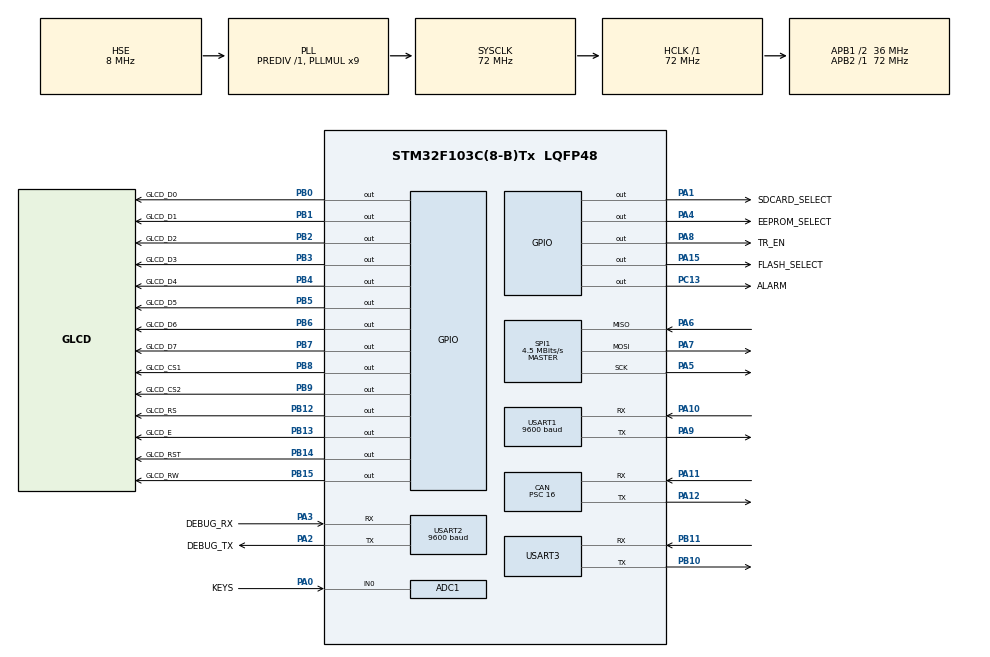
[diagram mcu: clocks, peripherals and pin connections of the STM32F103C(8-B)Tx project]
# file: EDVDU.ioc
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ADC1.Channel-1\#ChannelRegularConversion=ADC_CHANNEL_0
ADC1.EnableInjectedConversion=DISABLE
ADC1.NbrOfConversionFlag=1
ADC1.Rank-1\#ChannelRegularConversion=1
ADC1.SamplingTime-1\#ChannelRegularConversion=ADC_SAMPLETIME_1CYCLE_5
ADC1.master=1
CAN.CalculateBaudRate=749999
CAN.CalculateTimeBit=1333
CAN.CalculateTimeQuantum=444.44444444444446
CAN.Prescaler=16
CAN.SJW=CAN_SJW_1TQ
Dma.ADC1.0.Direction=DMA_PERIPH_TO_MEMORY
Dma.ADC1.0.Instance=DMA1_Channel1
Dma.ADC1.0.MemDataAlignment=DMA_MDATAALIGN_HALFWORD
Dma.ADC1.0.MemInc=DMA_MINC_ENABLE
Dma.ADC1.0.Mode=DMA_NORMAL
Dma.ADC1.0.PeriphDataAlignment=DMA_PDATAALIGN_HALFWORD
Dma.ADC1.0.PeriphInc=DMA_PINC_DISABLE
Dma.ADC1.0.Priority=DMA_PRIORITY_LOW
Dma.Request0=ADC1
Mcu.Family=STM32F1
Mcu.Name=STM32F103C(8-B)Tx
Mcu.Package=LQFP48
NVIC.ADC1_2_IRQn=true\:0\:0\:false\:false\:true\:true\:true\:true
NVIC.DMA1_Channel1_IRQn=true\:0\:0\:false\:false\:true\:false\:true\:true
NVIC.PriorityGroup=NVIC_PRIORITYGROUP_4
NVIC.USART2_IRQn=true\:0\:0\:false\:false\:true\:true\:true\:true
PA0-WKUP.GPIO_Label=KEYS
PA0-WKUP.Signal=ADCx_IN0
PA1.GPIO_Label=SDCARD_SELECT
PA1.Signal=GPIO_Output
PA10.Mode=Asynchronous
PA10.Signal=USART1_RX
PA11.Mode=CAN_Activate
PA11.Signal=CAN_RX
PA12.Mode=CAN_Activate
PA12.Signal=CAN_TX
PA13.Mode=Serial_Wire
PA13.Signal=SYS_JTMS-SWDIO
PA14.Mode=Serial_Wire
PA14.Signal=SYS_JTCK-SWCLK
PA15.GPIO_Label=FLASH_SELECT
PA15.Signal=GPIO_Output
PA2.GPIO_Label=DEBUG_TX
PA2.Mode=Asynchronous
PA2.Signal=USART2_TX
PA3.GPIO_Label=DEBUG_RX
PA3.Mode=Asynchronous
PA3.Signal=USART2_RX
PA4.GPIO_Label=EEPROM_SELECT
PA4.Signal=GPIO_Output
PA5.Mode=Full_Duplex_Master
PA5.Signal=SPI1_SCK
PA6.Mode=Full_Duplex_Master
PA6.Signal=SPI1_MISO
PA7.Mode=Full_Duplex_Master
PA7.Signal=SPI1_MOSI
PA8.GPIO_Label=TR_EN
PA8.Signal=GPIO_Output
PA9.Mode=Asynchronous
PA9.Signal=USART1_TX
PB0.GPIO_Label=GLCD_D0
PB0.Signal=GPIO_Output
PB1.GPIO_Label=GLCD_D1
PB1.Signal=GPIO_Output
PB10.Mode=Asynchronous
PB10.Signal=USART3_TX
PB11.Mode=Asynchronous
PB11.Signal=USART3_RX
PB12.GPIO_Label=GLCD_RS
PB12.Signal=GPIO_Output
PB13.GPIO_Label=GLCD_E
PB13.Signal=GPIO_Output
PB14.GPIO_Label=GLCD_RST
PB14.Signal=GPIO_Output
PB15.GPIO_Label=GLCD_RW
PB15.Signal=GPIO_Output
PB2.GPIO_Label=GLCD_D2
PB2.Signal=GPIO_Output
PB3.GPIO_Label=GLCD_D3
PB3.Signal=GPIO_Output
PB4.GPIO_Label=GLCD_D4
PB4.Signal=GPIO_Output
PB5.GPIO_Label=GLCD_D5
PB5.Signal=GPIO_Output
PB6.GPIO_Label=GLCD_D6
PB6.Signal=GPIO_Output
PB7.GPIO_Label=GLCD_D7
PB7.Signal=GPIO_Output
PB8.GPIO_Label=GLCD_CS1
PB8.Signal=GPIO_Output
PB9.GPIO_Label=GLCD_CS2
PB9.Signal=GPIO_Output
PC13-TAMPER-RTC.GPIO_Label=ALARM
PC13-TAMPER-RTC.Signal=GPIO_Output
PC14-OSC32_IN.Mode=LSE-External-Oscillator
PC14-OSC32_IN.Signal=RCC_OSC32_IN
PC15-OSC32_OUT.Mode=LSE-External-Oscillator
PC15-OSC32_OUT.Signal=RCC_OSC32_OUT
PD0-OSC_IN.Mode=HSE-External-Oscillator
PD0-OSC_IN.Signal=RCC_OSC_IN
PD1-OSC_OUT.Mode=HSE-External-Oscillator
PD1-OSC_OUT.Signal=RCC_OSC_OUT
ProjectManager.HeapSize=0x200
ProjectManager.StackSize=0x400
ProjectManager.TargetToolchain=MDK-ARM V5.32
RCC.ADCPresc=RCC_ADCPCLK2_DIV6
RCC.AHBFreq_Value=72000000
RCC.APB1CLKDivider=RCC_HCLK_DIV2
RCC.APB1Freq_Value=36000000
RCC.APB1TimFreq_Value=72000000
RCC.APB2Freq_Value=72000000
RCC.APB2TimFreq_Value=72000000
RCC.HCLKFreq_Value=72000000
RCC.PLLMUL=RCC_PLL_MUL9
RCC.PLLSourceVirtual=RCC_PLLSOURCE_HSE
RCC.RTCClockSelection=RCC_RTCCLKSOURCE_HSE_DIV128
RCC.SYSCLKFreq_VALUE=72000000
RCC.SYSCLKSource=RCC_SYSCLKSOURCE_PLLCLK
RCC.USBFreq_Value=72000000
SH.ADCx_IN0.0=ADC1_IN0,IN0
SPI1.BaudRatePrescaler=SPI_BAUDRATEPRESCALER_16
SPI1.CalculateBaudRate=4.5 MBits/s
SPI1.Direction=SPI_DIRECTION_2LINES
SPI1.Mode=SPI_MODE_MASTER
SPI1.VirtualType=VM_MASTER
TIM2.Channel-PWM\ Generation1\ No\ Output=TIM_CHANNEL_1
USART1.BaudRate=9600
USART1.VirtualMode=VM_ASYNC
USART2.BaudRate=9600
USART2.VirtualMode=VM_ASYNC
USART3.VirtualMode=VM_ASYNC
VP_RTC_No_RTC_Output.Mode=RTC_OUT_NO
VP_RTC_VS_RTC_Activate.Mode=RTC_Enabled
VP_TIM1_VS_ClockSourceINT.Mode=Internal
VP_TIM2_VS_ClockSourceINT.Mode=Internal
VP_TIM2_VS_no_output1.Mode=PWM Generation1 No Output
board=custom

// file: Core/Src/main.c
/* USER CODE BEGIN Header */
/**
  ******************************************************************************
  * @file           : main.c
  * @brief          : Main program body
  ******************************************************************************
  * @attention
  *
  * Copyright (c) 2023 STMicroelectronics.
  * All rights reserved.
  *
  * This software is licensed under terms that can be found in the LICENSE file
  * in the root directory of this software component.
  * If no LICENSE file comes with this software, it is provided AS-IS.
  *
  ******************************************************************************
  */
/* USER CODE END Header */
#include "main.h"

/* USER CODE BEGIN Includes */
#include "FONT/font/f5x7.h"
#include "FONT/font/AF9x10.h"
#include "FONT/font/AF12x16.h"
#include "FONT/font/f10x20.h"
#include "BMP/Logo.h"

#include <stdio.h>
#include "FreeRTOS.h"
#include "task.h"
#include "queue.h"
/* USER CODE END Includes */

/* USER CODE BEGIN PM */
void Input_DB_GLCD(void);
void Output_DB_GLCD(void);
void Write_DB_GLCD(unsigned char x);
unsigned char Read_DB_GLCD(void);
unsigned int _delay_us(unsigned int Delay);
/* USER CODE END PM */

ADC_HandleTypeDef hadc1;
DMA_HandleTypeDef hdma_adc1;

CAN_HandleTypeDef hcan;

RTC_HandleTypeDef hrtc;

SPI_HandleTypeDef hspi1;

TIM_HandleTypeDef htim1;
TIM_HandleTypeDef htim2;

UART_HandleTypeDef huart1;
UART_HandleTypeDef huart2;
UART_HandleTypeDef huart3;

/* USER CODE BEGIN PV */
unsigned char Data;
char data[37];
char Ctemp[20];
/* USER CODE END PV */

void SystemClock_Config(void);
static void MX_GPIO_Init(void);
static void MX_DMA_Init(void);
static void MX_USART1_UART_Init(void);
static void MX_USART2_UART_Init(void);
static void MX_ADC1_Init(void);
static void MX_CAN_Init(void);
static void MX_SPI1_Init(void);
static void MX_TIM1_Init(void);
static void MX_USART3_UART_Init(void);
static void MX_TIM2_Init(void);
static void MX_RTC_Init(void);

int main(void)
{

  /* MCU Configuration--------------------------------------------------------*/

  /* Reset of all peripherals, Initializes the Flash interface and the Systick. */
  HAL_Init();

  /* Configure the system clock */
  SystemClock_Config();

  /* Initialize all configured peripherals */
  MX_GPIO_Init();
  MX_DMA_Init();
  MX_USART1_UART_Init();
  MX_USART2_UART_Init();
  MX_ADC1_Init();
  MX_CAN_Init();
  MX_SPI1_Init();
  MX_TIM1_Init();
  MX_USART3_UART_Init();
  MX_TIM2_Init();
  MX_RTC_Init();

  /* USER CODE BEGIN 2 */
	printf("debuged1");

	HAL_GPIO_TogglePin(ALARM_GPIO_Port, ALARM_Pin);
	HAL_Delay(100);
	HAL_GPIO_TogglePin(ALARM_GPIO_Port, ALARM_Pin);
	HAL_Delay(100);

	KS108_Init(NON_INVERTED);
	KS108_CLSx();

	KS108_DrawBitmap(Logo, 0, 0, TRANS);
	_delay_ms(1500);
	KS108_CLSx();

	SetLetter(E_LETTER);
	LcdFont(f10x20);
	TextBox (0, 5,  127,  25, "ElectronDriven.com",  ALINE_CENTER | BORDER_RECT |BORDER_FILL);

  HAL_GPIO_TogglePin(ALARM_GPIO_Port, ALARM_Pin);
	HAL_Delay(100);
	HAL_GPIO_TogglePin(ALARM_GPIO_Port, ALARM_Pin);
	HAL_Delay(100);

	printf("debuged");
  /* USER CODE END 2 */

  /* Infinite loop */
  while (1)
  {

  }
}

void SystemClock_Config(void)
{
  RCC_OscInitTypeDef RCC_OscInitStruct = {0};
  RCC_ClkInitTypeDef RCC_ClkInitStruct = {0};
  RCC_PeriphCLKInitTypeDef PeriphClkInit = {0};

  /** Initializes the RCC Oscillators according to the specified parameters
  * in the RCC_OscInitTypeDef structure.
  */
  RCC_OscInitStruct.OscillatorType = RCC_OSCILLATORTYPE_HSE;
  RCC_OscInitStruct.HSEState = RCC_HSE_ON;
  RCC_OscInitStruct.HSEPredivValue = RCC_HSE_PREDIV_DIV1;
  RCC_OscInitStruct.HSIState = RCC_HSI_ON;
  RCC_OscInitStruct.PLL.PLLState = RCC_PLL_ON;
  RCC_OscInitStruct.PLL.PLLSource = RCC_PLLSOURCE_HSE;
  RCC_OscInitStruct.PLL.PLLMUL = RCC_PLL_MUL9;
  if (HAL_RCC_OscConfig(&RCC_OscInitStruct) != HAL_OK)
  {
    Error_Handler();
  }

  /** Initializes the CPU, AHB and APB buses clocks
  */
  RCC_ClkInitStruct.ClockType = RCC_CLOCKTYPE_HCLK|RCC_CLOCKTYPE_SYSCLK
                              |RCC_CLOCKTYPE_PCLK1|RCC_CLOCKTYPE_PCLK2;
  RCC_ClkInitStruct.SYSCLKSource = RCC_SYSCLKSOURCE_PLLCLK;
  RCC_ClkInitStruct.AHBCLKDivider = RCC_SYSCLK_DIV1;
  RCC_ClkInitStruct.APB1CLKDivider = RCC_HCLK_DIV2;
  RCC_ClkInitStruct.APB2CLKDivider = RCC_HCLK_DIV1;

  if (HAL_RCC_ClockConfig(&RCC_ClkInitStruct, FLASH_LATENCY_2) != HAL_OK)
  {
    Error_Handler();
  }
  PeriphClkInit.PeriphClockSelection = RCC_PERIPHCLK_RTC|RCC_PERIPHCLK_ADC;
  PeriphClkInit.RTCClockSelection = RCC_RTCCLKSOURCE_HSE_DIV128;
  PeriphClkInit.AdcClockSelection = RCC_ADCPCLK2_DIV6;
  if (HAL_RCCEx_PeriphCLKConfig(&PeriphClkInit) != HAL_OK)
  {
    Error_Handler();
  }
}

static void MX_ADC1_Init(void)
{

  ADC_ChannelConfTypeDef sConfig = {0};

  /** Common config
  */
  hadc1.Instance = ADC1;
  hadc1.Init.ScanConvMode = ADC_SCAN_DISABLE;
  hadc1.Init.ContinuousConvMode = DISABLE;
  hadc1.Init.DiscontinuousConvMode = DISABLE;
  hadc1.Init.ExternalTrigConv = ADC_SOFTWARE_START;
  hadc1.Init.DataAlign = ADC_DATAALIGN_RIGHT;
  hadc1.Init.NbrOfConversion = 1;
  if (HAL_ADC_Init(&hadc1) != HAL_OK)
  {
    Error_Handler();
  }

  /** Configure Regular Channel
  */
  sConfig.Channel = ADC_CHANNEL_0;
  sConfig.Rank = ADC_REGULAR_RANK_1;
  sConfig.SamplingTime = ADC_SAMPLETIME_1CYCLE_5;
  if (HAL_ADC_ConfigChannel(&hadc1, &sConfig) != HAL_OK)
  {
    Error_Handler();
  }

}

static void MX_CAN_Init(void)
{

  hcan.Instance = CAN1;
  hcan.Init.Prescaler = 16;
  hcan.Init.Mode = CAN_MODE_NORMAL;
  hcan.Init.SyncJumpWidth = CAN_SJW_1TQ;
  hcan.Init.TimeSeg1 = CAN_BS1_1TQ;
  hcan.Init.TimeSeg2 = CAN_BS2_1TQ;
  hcan.Init.TimeTriggeredMode = DISABLE;
  hcan.Init.AutoBusOff = DISABLE;
  hcan.Init.AutoWakeUp = DISABLE;
  hcan.Init.AutoRetransmission = DISABLE;
  hcan.Init.ReceiveFifoLocked = DISABLE;
  hcan.Init.TransmitFifoPriority = DISABLE;
  if (HAL_CAN_Init(&hcan) != HAL_OK)
  {
    Error_Handler();
  }

}

static void MX_RTC_Init(void)
{

  RTC_TimeTypeDef sTime = {0};
  RTC_DateTypeDef DateToUpdate = {0};

  /** Initialize RTC Only
  */
  hrtc.Instance = RTC;
  hrtc.Init.AsynchPrediv = RTC_AUTO_1_SECOND;
  hrtc.Init.OutPut = RTC_OUTPUTSOURCE_NONE;
  if (HAL_RTC_Init(&hrtc) != HAL_OK)
  {
    Error_Handler();
  }

  /** Initialize RTC and set the Time and Date
  */
  sTime.Hours = 0x0;
  sTime.Minutes = 0x0;
  sTime.Seconds = 0x0;

  if (HAL_RTC_SetTime(&hrtc, &sTime, RTC_FORMAT_BCD) != HAL_OK)
  {
    Error_Handler();
  }
  DateToUpdate.WeekDay = RTC_WEEKDAY_MONDAY;
  DateToUpdate.Month = RTC_MONTH_JANUARY;
  DateToUpdate.Date = 0x1;
  DateToUpdate.Year = 0x0;

  if (HAL_RTC_SetDate(&hrtc, &DateToUpdate, RTC_FORMAT_BCD) != HAL_OK)
  {
    Error_Handler();
  }

}

static void MX_SPI1_Init(void)
{

  /* SPI1 parameter configuration*/
  hspi1.Instance = SPI1;
  hspi1.Init.Mode = SPI_MODE_MASTER;
  hspi1.Init.Direction = SPI_DIRECTION_2LINES;
  hspi1.Init.DataSize = SPI_DATASIZE_8BIT;
  hspi1.Init.CLKPolarity = SPI_POLARITY_LOW;
  hspi1.Init.CLKPhase = SPI_PHASE_1EDGE;
  hspi1.Init.NSS = SPI_NSS_SOFT;
  hspi1.Init.BaudRatePrescaler = SPI_BAUDRATEPRESCALER_16;
  hspi1.Init.FirstBit = SPI_FIRSTBIT_MSB;
  hspi1.Init.TIMode = SPI_TIMODE_DISABLE;
  hspi1.Init.CRCCalculation = SPI_CRCCALCULATION_DISABLE;
  hspi1.Init.CRCPolynomial = 10;
  if (HAL_SPI_Init(&hspi1) != HAL_OK)
  {
    Error_Handler();
  }

}

static void MX_TIM1_Init(void)
{

  TIM_ClockConfigTypeDef sClockSourceConfig = {0};
  TIM_MasterConfigTypeDef sMasterConfig = {0};

  htim1.Instance = TIM1;
  htim1.Init.Prescaler = 0;
  htim1.Init.CounterMode = TIM_COUNTERMODE_UP;
  htim1.Init.Period = 65535;
  htim1.Init.ClockDivision = TIM_CLOCKDIVISION_DIV1;
  htim1.Init.RepetitionCounter = 0;
  htim1.Init.AutoReloadPreload = TIM_AUTORELOAD_PRELOAD_DISABLE;
  if (HAL_TIM_Base_Init(&htim1) != HAL_OK)
  {
    Error_Handler();
  }
  sClockSourceConfig.ClockSource = TIM_CLOCKSOURCE_INTERNAL;
  if (HAL_TIM_ConfigClockSource(&htim1, &sClockSourceConfig) != HAL_OK)
  {
    Error_Handler();
  }
  sMasterConfig.MasterOutputTrigger = TIM_TRGO_RESET;
  sMasterConfig.MasterSlaveMode = TIM_MASTERSLAVEMODE_DISABLE;
  if (HAL_TIMEx_MasterConfigSynchronization(&htim1, &sMasterConfig) != HAL_OK)
  {
    Error_Handler();
  }

}

static void MX_TIM2_Init(void)
{

  TIM_ClockConfigTypeDef sClockSourceConfig = {0};
  TIM_MasterConfigTypeDef sMasterConfig = {0};
  TIM_OC_InitTypeDef sConfigOC = {0};

  htim2.Instance = TIM2;
  htim2.Init.Prescaler = 0;
  htim2.Init.CounterMode = TIM_COUNTERMODE_UP;
  htim2.Init.Period = 65535;
  htim2.Init.ClockDivision = TIM_CLOCKDIVISION_DIV1;
  htim2.Init.AutoReloadPreload = TIM_AUTORELOAD_PRELOAD_DISABLE;
  if (HAL_TIM_Base_Init(&htim2) != HAL_OK)
  {
    Error_Handler();
  }
  sClockSourceConfig.ClockSource = TIM_CLOCKSOURCE_INTERNAL;
  if (HAL_TIM_ConfigClockSource(&htim2, &sClockSourceConfig) != HAL_OK)
  {
    Error_Handler();
  }
  if (HAL_TIM_PWM_Init(&htim2) != HAL_OK)
  {
    Error_Handler();
  }
  sMasterConfig.MasterOutputTrigger = TIM_TRGO_RESET;
  sMasterConfig.MasterSlaveMode = TIM_MASTERSLAVEMODE_DISABLE;
  if (HAL_TIMEx_MasterConfigSynchronization(&htim2, &sMasterConfig) != HAL_OK)
  {
    Error_Handler();
  }
  sConfigOC.OCMode = TIM_OCMODE_PWM1;
  sConfigOC.Pulse = 0;
  sConfigOC.OCPolarity = TIM_OCPOLARITY_HIGH;
  sConfigOC.OCFastMode = TIM_OCFAST_DISABLE;
  if (HAL_TIM_PWM_ConfigChannel(&htim2, &sConfigOC, TIM_CHANNEL_1) != HAL_OK)
  {
    Error_Handler();
  }

}

static void MX_USART1_UART_Init(void)
{

  huart1.Instance = USART1;
  huart1.Init.BaudRate = 9600;
  huart1.Init.WordLength = UART_WORDLENGTH_8B;
  huart1.Init.StopBits = UART_STOPBITS_1;
  huart1.Init.Parity = UART_PARITY_NONE;
  huart1.Init.Mode = UART_MODE_TX_RX;
  huart1.Init.HwFlowCtl = UART_HWCONTROL_NONE;
  huart1.Init.OverSampling = UART_OVERSAMPLING_16;
  if (HAL_UART_Init(&huart1) != HAL_OK)
  {
    Error_Handler();
  }

}

static void MX_USART2_UART_Init(void)
{

  huart2.Instance = USART2;
  huart2.Init.BaudRate = 9600;
  huart2.Init.WordLength = UART_WORDLENGTH_8B;
  huart2.Init.StopBits = UART_STOPBITS_1;
  huart2.Init.Parity = UART_PARITY_NONE;
  huart2.Init.Mode = UART_MODE_TX_RX;
  huart2.Init.HwFlowCtl = UART_HWCONTROL_NONE;
  huart2.Init.OverSampling = UART_OVERSAMPLING_16;
  if (HAL_UART_Init(&huart2) != HAL_OK)
  {
    Error_Handler();
  }

}

static void MX_USART3_UART_Init(void)
{

  huart3.Instance = USART3;
  huart3.Init.BaudRate = 115200;
  huart3.Init.WordLength = UART_WORDLENGTH_8B;
  huart3.Init.StopBits = UART_STOPBITS_1;
  huart3.Init.Parity = UART_PARITY_NONE;
  huart3.Init.Mode = UART_MODE_TX_RX;
  huart3.Init.HwFlowCtl = UART_HWCONTROL_NONE;
  huart3.Init.OverSampling = UART_OVERSAMPLING_16;
  if (HAL_UART_Init(&huart3) != HAL_OK)
  {
    Error_Handler();
  }

}

static void MX_DMA_Init(void)
{

  /* DMA controller clock enable */
  __HAL_RCC_DMA1_CLK_ENABLE();

  /* DMA interrupt init */
  /* DMA1_Channel1_IRQn interrupt configuration */
  HAL_NVIC_SetPriority(DMA1_Channel1_IRQn, 0, 0);
  HAL_NVIC_EnableIRQ(DMA1_Channel1_IRQn);

}

static void MX_GPIO_Init(void)
{
  GPIO_InitTypeDef GPIO_InitStruct = {0};

  /* GPIO Ports Clock Enable */
  __HAL_RCC_GPIOC_CLK_ENABLE();
  __HAL_RCC_GPIOD_CLK_ENABLE();
  __HAL_RCC_GPIOA_CLK_ENABLE();
  __HAL_RCC_GPIOB_CLK_ENABLE();

  /*Configure GPIO pin Output Level */
  HAL_GPIO_WritePin(ALARM_GPIO_Port, ALARM_Pin, GPIO_PIN_RESET);

  /*Configure GPIO pin Output Level */
  HAL_GPIO_WritePin(GPIOA, SDCARD_SELECT_Pin|EEPROM_SELECT_Pin|TR_EN_Pin|FLASH_SELECT_Pin, GPIO_PIN_RESET);

  /*Configure GPIO pin Output Level */
  HAL_GPIO_WritePin(GPIOB, GLCD_D0_Pin|GLCD_D1_Pin|GLCD_D2_Pin|GLCD_RS_Pin
                          |GLCD_E_Pin|GLCD_RST_Pin|GLCD_RW_Pin|GLCD_D3_Pin
                          |GLCD_D4_Pin|GLCD_D5_Pin|GLCD_D6_Pin|GLCD_D7_Pin
                          |GLCD_CS1_Pin|GLCD_CS2_Pin, GPIO_PIN_RESET);

  /*Configure GPIO pin : ALARM_Pin */
  GPIO_InitStruct.Pin = ALARM_Pin;
  GPIO_InitStruct.Mode = GPIO_MODE_OUTPUT_PP;
  GPIO_InitStruct.Pull = GPIO_NOPULL;
  GPIO_InitStruct.Speed = GPIO_SPEED_FREQ_LOW;
  HAL_GPIO_Init(ALARM_GPIO_Port, &GPIO_InitStruct);

  /*Configure GPIO pins : SDCARD_SELECT_Pin EEPROM_SELECT_Pin TR_EN_Pin FLASH_SELECT_Pin */
  GPIO_InitStruct.Pin = SDCARD_SELECT_Pin|EEPROM_SELECT_Pin|TR_EN_Pin|FLASH_SELECT_Pin;
  GPIO_InitStruct.Mode = GPIO_MODE_OUTPUT_PP;
  GPIO_InitStruct.Pull = GPIO_NOPULL;
  GPIO_InitStruct.Speed = GPIO_SPEED_FREQ_LOW;
  HAL_GPIO_Init(GPIOA, &GPIO_InitStruct);

  /*Configure GPIO pins : GLCD_D0_Pin GLCD_D1_Pin GLCD_D2_Pin GLCD_RS_Pin
                           GLCD_E_Pin GLCD_RST_Pin GLCD_RW_Pin GLCD_D3_Pin
                           GLCD_D4_Pin GLCD_D5_Pin GLCD_D6_Pin GLCD_D7_Pin
                           GLCD_CS1_Pin GLCD_CS2_Pin */
  GPIO_InitStruct.Pin = GLCD_D0_Pin|GLCD_D1_Pin|GLCD_D2_Pin|GLCD_RS_Pin
                          |GLCD_E_Pin|GLCD_RST_Pin|GLCD_RW_Pin|GLCD_D3_Pin
                          |GLCD_D4_Pin|GLCD_D5_Pin|GLCD_D6_Pin|GLCD_D7_Pin
                          |GLCD_CS1_Pin|GLCD_CS2_Pin;
  GPIO_InitStruct.Mode = GPIO_MODE_OUTPUT_PP;
  GPIO_InitStruct.Pull = GPIO_NOPULL;
  GPIO_InitStruct.Speed = GPIO_SPEED_FREQ_LOW;
  HAL_GPIO_Init(GPIOB, &GPIO_InitStruct);

}

/* USER CODE BEGIN 4 */
void Input_DB_GLCD(void)
{
	GPIO_InitTypeDef GPIO_InitStruct;
	GPIO_InitStruct.Pin = GLCD_D0_Pin|GLCD_D1_Pin|GLCD_D2_Pin|GLCD_D3_Pin |GLCD_D4_Pin|GLCD_D5_Pin|GLCD_D6_Pin|GLCD_D7_Pin;
	GPIO_InitStruct.Mode = GPIO_MODE_INPUT;
	GPIO_InitStruct.Pull = GPIO_NOPULL;
	HAL_GPIO_Init(GPIOB, &GPIO_InitStruct);

}
void Output_DB_GLCD(void)
{
	GPIO_InitTypeDef GPIO_InitStruct;
	GPIO_InitStruct.Pin = GLCD_D0_Pin|GLCD_D1_Pin|GLCD_D2_Pin|GLCD_D3_Pin |GLCD_D4_Pin|GLCD_D5_Pin|GLCD_D6_Pin|GLCD_D7_Pin;
	GPIO_InitStruct.Mode = GPIO_MODE_OUTPUT_PP;
	GPIO_InitStruct.Speed = GPIO_SPEED_FREQ_LOW;
	HAL_GPIO_Init(GPIOB, &GPIO_InitStruct);
}
void Write_DB_GLCD(unsigned char x)
{
	HAL_GPIO_WritePin(KS108_DB_PRT,0xFF,GPIO_PIN_RESET);
	HAL_GPIO_WritePin(KS108_DB_PRT,(x),GPIO_PIN_SET);
}

unsigned char Read_DB_GLCD(void)
{
	Data=0;
	if(HAL_GPIO_ReadPin(KS108_DB_PRT,GPIO_PIN_0))
		Data|=1;
	if(HAL_GPIO_ReadPin(KS108_DB_PRT,GPIO_PIN_1))
		Data|=2;
	if(HAL_GPIO_ReadPin(KS108_DB_PRT,GPIO_PIN_2))
		Data|=4;
	if(HAL_GPIO_ReadPin(KS108_DB_PRT,GPIO_PIN_3))
		Data|=8;
	if(HAL_GPIO_ReadPin(KS108_DB_PRT,GPIO_PIN_4))
		Data|=16;
	if(HAL_GPIO_ReadPin(KS108_DB_PRT,GPIO_PIN_5))
		Data|=32;
	if(HAL_GPIO_ReadPin(KS108_DB_PRT,GPIO_PIN_6))
		Data|=64;
	if(HAL_GPIO_ReadPin(KS108_DB_PRT,GPIO_PIN_7))
		Data|=128;
	return Data;
}
unsigned int _delay_us(unsigned int Delay)
{
		//Delay*=100;
		unsigned int Sum=0;
		for(unsigned int Counter=0;Counter<=Delay;Counter++)
		{
				Sum+=Counter;
		}
		return Sum;
}
/* USER CODE END 4 */

void Error_Handler(void)
{
  __disable_irq();
  while (1)
  {
  }
}
